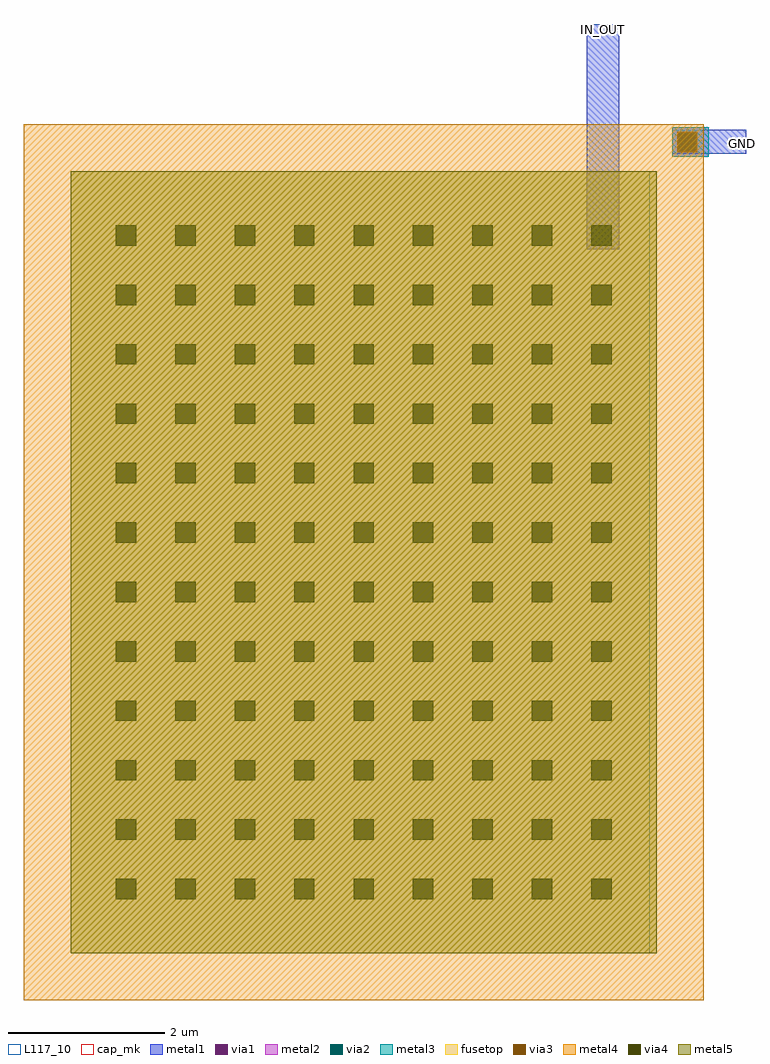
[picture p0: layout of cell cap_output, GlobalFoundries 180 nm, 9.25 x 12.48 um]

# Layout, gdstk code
from math import pi, radians
import gdstk
lib = gdstk.Library(unit=1e-6, precision=1e-09)
def R(c, l, rs):  # rectangles x0, y0, x1, y1
    for r in rs: c.add(gdstk.rectangle(r[:2], r[2:], *l))
def A(c, l, x, y, w, h, nx, ny, dx, dy):  # array of equal rectangles
    R(c, l, [(x+i*dx, y+j*dy, x+i*dx+w, y+j*dy+h) for i in range(nx) for j in range(ny)])
metal1 = (34, 0)
via1 = (35, 0)
metal2 = (36, 0)
via2 = (38, 0)
via3 = (40, 0)
via4 = (41, 0)
metal3 = (42, 0)
metal4 = (46, 0)
fusetop = (75, 0)
metal5 = (81, 0)
cap_mk = (117, 5)
L117_10 = (117, 10)

cap_mim = lib.new_cell('cap_mim')
A(cap_mim, via4, 0.69, 0.58, 0.26, 0.26, 12, 9, 0.76, 0.76)
R(cap_mim, metal4, [(-0.6,-0.6,10.6,8.1)])
R(cap_mim, fusetop, [(0,0,10,7.5)])
R(cap_mim, metal5, [(0,0,10,7.5)])
R(cap_mim, cap_mk, [(-0.6,-0.6,10.6,8.1)])
R(cap_mim, L117_10, [(0,0,10,0.1)])

cap_output = lib.new_cell('cap_output')
R(cap_output, metal1, [(8.065,9.895,8.48,12.775), (8.065,9.895,8.48,12.775), (9.16,11.115,10.105,11.425), (9.16,11.115,10.105,11.425)])
R(cap_output, via1, [(9.22,11.135,9.48,11.395), (9.22,11.135,9.48,11.395)])
R(cap_output, metal2, [(9.16,11.08,9.625,11.455), (9.16,11.08,9.625,11.455)])
R(cap_output, via2, [(9.22,11.135,9.48,11.395), (9.22,11.135,9.48,11.395)])
R(cap_output, via3, [(9.22,11.135,9.48,11.395), (9.22,11.135,9.48,11.395)])
R(cap_output, metal3, [(9.16,11.08,9.625,11.455), (9.16,11.08,9.625,11.455)])
r = gdstk.Reference(cap_mim, (8.96,0.89), rotation=pi/2); r.repetition = gdstk.Repetition(1, 1, v1=(0,0), v2=(0,0)); cap_output.add(r)
r = gdstk.Reference(cap_mim, (8.96,0.89), rotation=pi/2); r.repetition = gdstk.Repetition(1, 1, v1=(0,0), v2=(0,0)); cap_output.add(r)
cap_output.add(gdstk.Label('IN_OUT', (8.26,12.705), layer=34, texttype=10))
cap_output.add(gdstk.Label('GND', (10.055,11.25), layer=34, texttype=10))
cap_output.add(gdstk.Label('IN_OUT', (8.26,12.705), layer=34, texttype=10))
cap_output.add(gdstk.Label('GND', (10.055,11.25), layer=34, texttype=10))

lib.write_gds('cap_output.gds')
